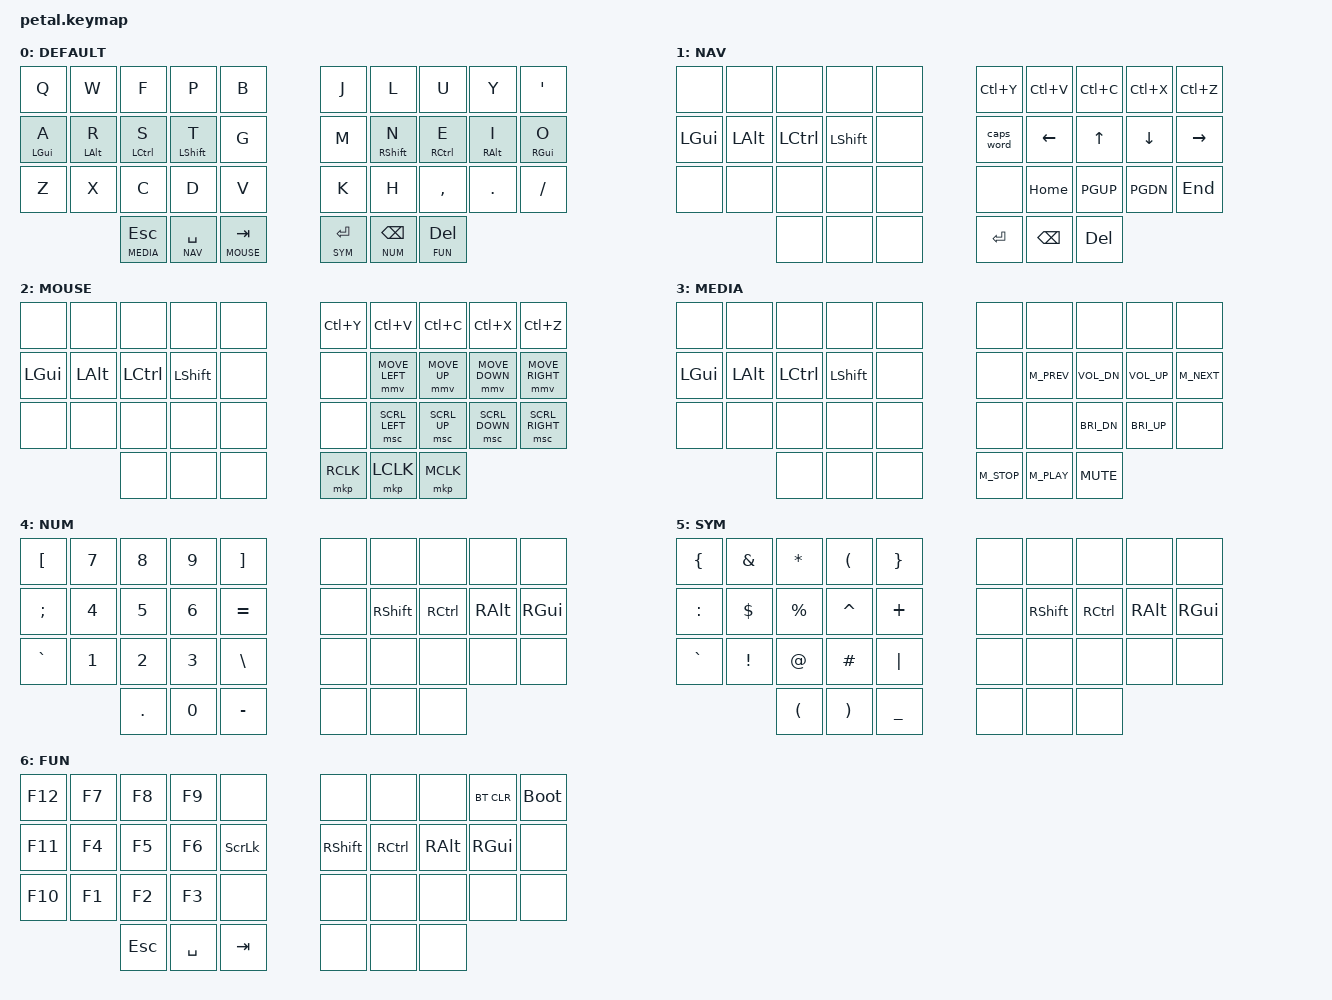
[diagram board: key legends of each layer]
#define ZMK_POINTING_DEFAULT_MOVE_VAL 1500  // default: 600, This controls the speed of the mouse keys, not the cirque.
#define ZMK_POINTING_DEFAULT_SCRL_VAL 20    // default: 10


#include <behaviors.dtsi>
#include <dt-bindings/zmk/keys.h>
#include <dt-bindings/zmk/bt.h>
#include <dt-bindings/zmk/mouse.h>
#include <behaviors/mouse_keys.dtsi>


#define DEFAULT 0
#define NAV     1
#define MOUSE   2
#define MEDIA   3
#define NUM     4
#define SYM     5
#define FUN     6


&caps_word {
    continue-list = <UNDERSCORE MINUS>;
};

/* Defines prefixes that can change behaviors of keys in the keymap*/ 
 / {
     behaviors {
         hm: homerow_mods {
             compatible = "zmk,behavior-hold-tap";
             #binding-cells = <2>;
             tapping-term-ms = <200>;
             flavor = "tap-preferred";
             bindings = <&kp>, <&kp>;
         };
         hs: homerow_shift {
             compatible = "zmk,behavior-hold-tap";
             #binding-cells = <2>;
             tapping-term-ms = <175>;
             flavor = "balanced";
             bindings = <&kp>, <&kp>;
         };
     };
   };

/ { keymap {
        compatible = "zmk,keymap";

        DEFAULT {
        bindings = <
            &kp Q           &kp W           &kp F           &kp P           &kp B                &kp J           &kp L           &kp U           &kp Y           &kp QUOT
            &hm LGUI A      &hm LALT R      &hm LCTL S      &hs LSHIFT T    &kp G                &kp M           &hs RSHIFT N    &hm RCTL E      &hm RALT I      &hm RGUI O
            &kp Z           &kp X           &kp C           &kp D           &kp V                &kp K           &kp H           &kp COMMA       &kp DOT         &kp SLASH

                                            &lt MEDIA ESC   &lt NAV SPACE   &lt MOUSE TAB        &lt SYM ENTER   &lt NUM BSPC    &lt FUN DEL
        >;
    };

    NAV {
        bindings = <
            &none           &none           &none           &none           &none                &kp LC(Y)     &kp LC(V)     &kp LC(C)     &kp LC(X)        &kp LC(Z)
            &kp LGUI        &kp LALT        &kp LCTL        &kp LSHIFT      &none                &caps_word    &kp LEFT      &kp UP        &kp DOWN         &kp RIGHT
            &none           &none           &none           &none           &none                &none         &kp HOME      &kp PGUP      &kp PGDN         &kp END

                                            &none           &none           &none                &kp ENTER       &kp BSPC    &kp DEL
        >;
    };

    MOUSE {
        bindings = <
            &none           &none           &none           &none           &none          &kp LC(Y)       &kp LC(V)       &kp LC(C)       &kp LC(X)       &kp LC(Z)
            &kp LGUI        &kp LALT        &kp LCTL        &kp LSHIFT      &none          &none           &mmv MOVE_LEFT  &mmv MOVE_UP    &mmv MOVE_DOWN  &mmv MOVE_RIGHT
            &none           &none           &none           &none           &none          &none           &msc SCRL_LEFT           &msc SCRL_UP           &msc SCRL_DOWN           &msc SCRL_RIGHT

                                            &none           &none           &none          &mkp RCLK           &mkp LCLK           &mkp MCLK
        >;
    };

    MEDIA {
        bindings = <
            &none           &none           &none           &none           &none                &none           &none           &none           &none           &none
            &kp LGUI        &kp LALT        &kp LCTL        &kp LSHIFT      &none                &none           &kp M_PREV      &kp C_VOL_DN    &kp C_VOL_UP    &kp M_NEXT
            &none           &none           &none           &none           &none                &none           &none           &kp C_BRI_DN          &kp C_BRI_UP        &none

                                            &none           &none           &none                &kp M_STOP      &kp M_PLAY      &kp C_MUTE
        >;
    };


    NUM {
        bindings = <
            &kp LBKT        &kp N7         &kp N8         &kp N9         &kp RBKT                &none           &none           &none           &none           &none                
            &kp SCLN        &kp N4         &kp N5         &kp N6         &kp EQUAL               &none           &kp RSHIFT      &kp RCTL        &kp RALT        &kp RGUI                     
            &kp GRAVE       &kp N1         &kp N2         &kp N3         &kp BSLH                &none           &none           &none           &none           &none                

                                           &kp DOT        &kp N0         &kp MINUS               &none           &none           &none           
        >;

    };


    SYM {
        bindings = <
            &kp LBRC        &kp AMPS       &kp STAR       &kp LPAR       &kp RBRC                &none           &none           &none           &none           &none                
            &kp COLN        &kp DLLR       &kp PRCNT      &kp CARET      &kp PLUS                &none           &kp RSHIFT      &kp RCTL        &kp RALT        &kp RGUI                        
            &kp GRAVE       &kp EXCL       &kp AT         &kp HASH       &kp PIPE                &none           &none           &none           &none           &none                

                                           &kp LPAR       &kp RPAR   &kp UNDER                   &none           &none           &none
        >;
    };


    FUN {
        bindings = <
            &kp F12         &kp F7         &kp F8         &kp F9         &none                &none           &none           &none           &bt BT_CLR      &bootloader          
            &kp F11         &kp F4         &kp F5         &kp F6         &kp SLCK                &kp RSHIFT      &kp RCTL     &kp RALT        &kp RGUI        &none                
            &kp F10         &kp F1         &kp F2         &kp F3         &none                &none           &none           &none           &none           &none                

                                           &kp ESC        &kp SPACE      &kp TAB              &none           &none           &none           
        >;

    };

};
};

&pinctrl {
    spi0_default: spi0_default {
        group1 {
            psels = <NRF_PSEL(SPIM_SCK, 0, 17)>,
                <NRF_PSEL(SPIM_MOSI, 0, 20)>,
                <NRF_PSEL(SPIM_MISO, 0, 25)>;
        };
    };
    spi0_sleep: spi0_sleep {
        group1 {
            psels = <NRF_PSEL(SPIM_SCK, 0, 17)>,
                <NRF_PSEL(SPIM_MOSI, 0, 20)>,
                <NRF_PSEL(SPIM_MISO, 0, 25)>;
            low-power-enable;
        };
    };
};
